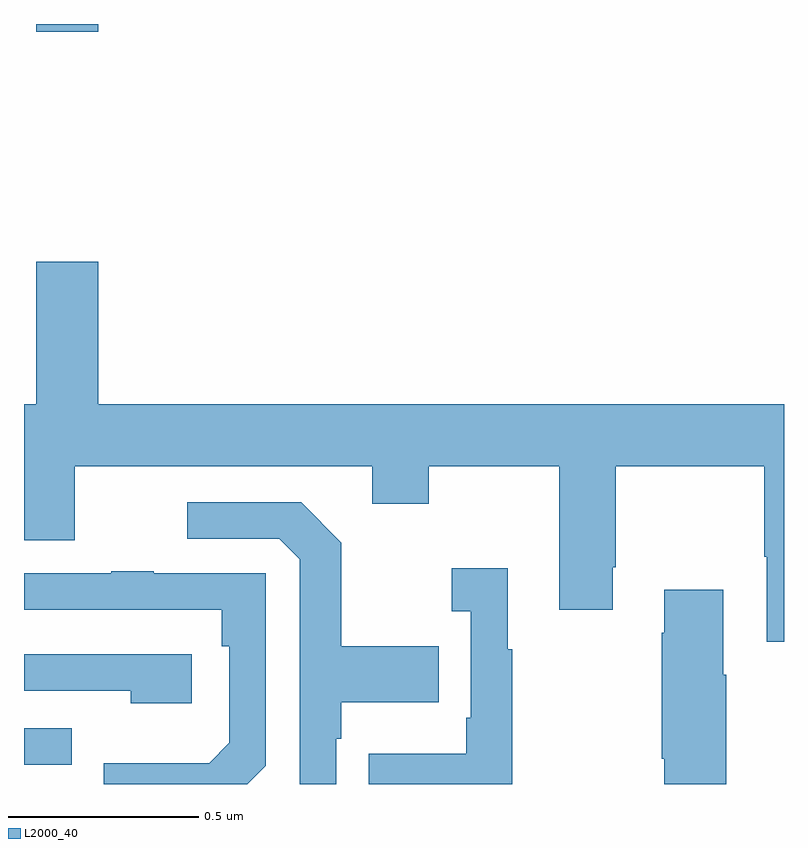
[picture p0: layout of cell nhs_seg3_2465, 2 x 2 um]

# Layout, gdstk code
import gdstk
lib = gdstk.Library(unit=1e-6, precision=1e-09)
def R(c, l, rs):  # rectangles x0, y0, x1, y1
    for r in rs: c.add(gdstk.rectangle(r[:2], r[2:], *l))
def P(c, l, *ps):  # polygons
    for p in ps: c.add(gdstk.Polygon(p, *l))
L2000_40 = (2000, 40)

nhs_seg3_2465 = lib.new_cell('nhs_seg3_2465')
R(nhs_seg3_2465, L2000_40, [(141,713.451,141.125,713.547), (141.032,715.38,141.196,715.4)])
P(nhs_seg3_2465, L2000_40, [(143,714.4),(141.196,714.4),(141.196,714.775),(141.032,714.775),(141.032,714.4),(141,714.4),(141,714.042),(141.133,714.042),(141.133,714.236),(141.917,714.236),(141.917,714.137),(142.065,714.137),(142.065,714.236),(142.409,714.236),(142.409,713.859),(142.549,713.859),(142.549,713.971),(142.557,713.971),(142.557,714.236),(142.948,714.236),(142.948,713.998),(142.955,713.998),(142.955,713.775),(143,713.775)],
  [(141.822,713.519),(141.835,713.519),(141.835,713.615),(142.091,713.615),(142.091,713.763),(141.835,713.763),(141.835,714.035),(141.729,714.141),(141.429,714.141),(141.429,714.045),(141.672,714.045),(141.726,713.991),(141.726,713.4),(141.822,713.4)],
  [(142.285,713.755),(142.273,713.755),(142.273,713.968),(142.125,713.968),(142.125,713.855),(142.176,713.855),(142.176,713.575),(142.164,713.575),(142.164,713.479),(141.907,713.479),(141.907,713.4),(142.285,713.4)],
  [(141.636,713.448),(141.636,713.955),(141.341,713.955),(141.341,713.96),(141.229,713.96),(141.229,713.955),(141,713.955),(141,713.859),(141.52,713.859),(141.52,713.762),(141.54,713.762),(141.54,713.508),(141.487,713.455),(141.21,713.455),(141.21,713.4),(141.588,713.4)],
  [(142.848,713.687),(142.84,713.687),(142.84,713.911),(142.685,713.911),(142.685,713.798),(142.678,713.798),(142.678,713.467),(142.685,713.467),(142.685,713.4),(142.848,713.4)],
  [(141.442,713.742),(141,713.742),(141,713.646),(141.281,713.646),(141.281,713.612),(141.442,713.612)])

lib.write_gds('nhs_seg3_2465.gds')
